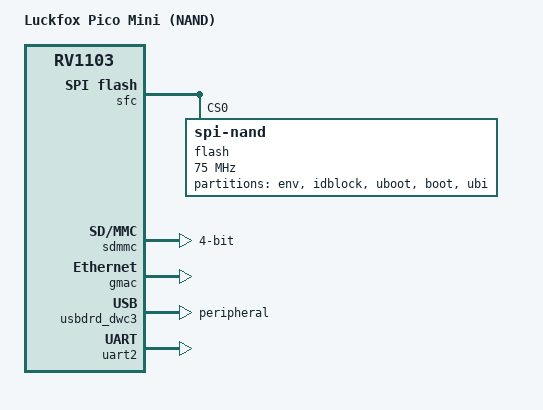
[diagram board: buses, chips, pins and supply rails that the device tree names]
// SPDX-License-Identifier: (GPL-2.0+ OR MIT)
/*
 * Copyright (c) 2023 Luckfox Electronics Co., Ltd.
 */

/dts-v1/;

#include "rv1103.dtsi"
#include "rv1106-evb.dtsi"
#include "rv1103-luckfox-pico-ipc.dtsi"

/ {
	model = "Luckfox Pico Mini (NAND)";
	compatible = "luckfox,rv1103-luckfox-pico-mini-nand", "luckfox,rv1103-luckfox-pico-mini-b", "rockchip,rv1103";

	chosen {
		bootargs = "earlycon=uart8250,mmio32,0xff4c0000 console=ttyS2,1500000n8 loglevel=8 ignore_loglevel mtdparts=spi2.0:256K(env),256K@256K(idblock),512K(uboot),6M@1280K(boot),-(ubi) ubi.mtd=ubi ubi.block=0,rootfs root=/dev/ubiblock0_0 rootfstype=squashfs ro rootwait rk_dma_heap_cma=24M";
	};
};

/* fiq-debugger is a vendor-only feature with no upstream driver; disable to
 * suppress "Dropping the fwnode link to /interrupt-controller" at boot. */
&fiq_debugger {
	status = "disabled";
};

/**********SFC**********/
/* Luckfox Pico Mini B has 128MB SPI NAND.
 *
 * Partitions are declared via fixed-partitions rather than cmdline
 * mtdparts: U-Boot's MTD layer hardcodes the flash name as "spi-nand0"
 * (drivers/mtd/nand/spi/core.c) while Linux names it "spi2.0" (from
 * dev_name of the SPI parent), so a single mtdparts= string cannot
 * satisfy both. OF partitions make Linux create MTDs by label, which
 * lets ubi.mtd=ubi match regardless of the parent MTD name. */
&sfc {
	status = "okay";
	flash@0 {
		compatible = "spi-nand";
		reg = <0>;
		spi-max-frequency = <75000000>;
		spi-rx-bus-width = <4>;
		spi-tx-bus-width = <1>;

		partitions {
			compatible = "fixed-partitions";
			#address-cells = <1>;
			#size-cells = <1>;

			partition@0 {
				label = "env";
				reg = <0x000000 0x040000>;
			};
			partition@40000 {
				label = "idblock";
				reg = <0x040000 0x080000>;
			};
			partition@c0000 {
				label = "uboot";
				reg = <0x0c0000 0x080000>;
			};
			partition@140000 {
				label = "boot";
				reg = <0x140000 0x600000>;
			};
			partition@740000 {
				label = "ubi";
				reg = <0x740000 0x78c0000>;
			};
		};
	};
};

/**********SDMMC**********/
&sdmmc {
	max-frequency = <50000000>;
	no-sdio;
	no-mmc;
	bus-width = <4>;
	cap-mmc-highspeed;
	cap-sd-highspeed;
	disable-wp;
	pinctrl-names = "default";
	pinctrl-0 = <&sdmmc0_clk &sdmmc0_cmd &sdmmc0_det &sdmmc0_bus4>;
	status = "okay";
};

/**********ETH**********/
/* RV1103 has an integrated 10/100 EPHY; the Mini exposes only the MDI
 * differential pairs (TXP/TXN/RXP/RXN) on castellated pads. A carrier
 * board with external magnetics + RJ45 is required for a physical link.
 * The driver probes cleanly without magnetics (MDIO lives inside the SoC)
 * and the interface just reports link down until one is attached. */
&gmac {
	status = "okay";
};

/**********USB**********/
&usbdrd_dwc3 {
	status = "okay";
	dr_mode = "peripheral";
};

/**********SPI**********/
/* SPI0_M0 */
&spi0 {
	status = "disabled";
	spidev@0 {
		spi-max-frequency = <50000000>;
	};
};

/**********I2C**********/
/* I2C3_M1 */
&i2c3 {
	status = "disabled";
	clock-frequency = <100000>;
};

/**********UART**********/
/* UART2_M1 — debug console; must be enabled so the 8250 driver claims the
 * UART2 clock before clk_disable_unused() runs, keeping the console alive. */
&uart2 {
	status = "okay";
};

/* UART3_M1 */
&uart3 {
	status = "disabled";
};

/* UART4_M1 */
&uart4 {
	status = "disabled";
};

/**********PWM**********/
/* PWM1_M0 */
&pwm1 {
	status = "disabled";
};
